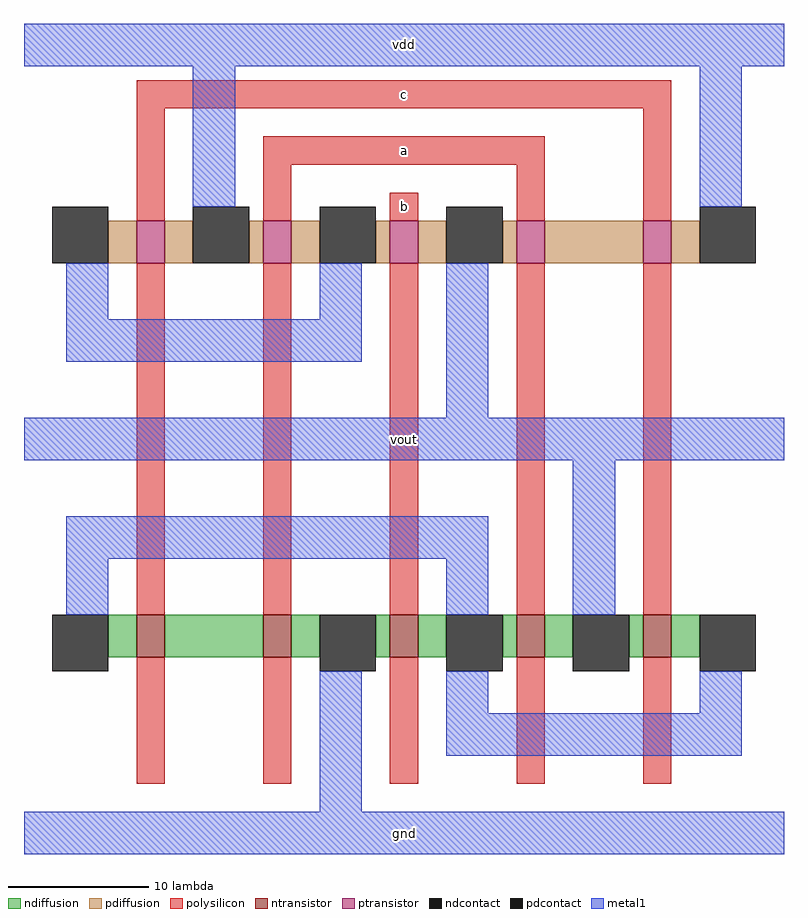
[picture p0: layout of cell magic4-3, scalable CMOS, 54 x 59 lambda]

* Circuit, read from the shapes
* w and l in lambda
.subckt magic4-3 a b c gnd vdd vout
M1 n1 c n2 VSUBS nfet w=3 l=2
M2 gnd a n1 VSUBS nfet w=3 l=2
M3 n2 b gnd VSUBS nfet w=3 l=2
M4 vout a n2 VSUBS nfet w=3 l=2
M5 n2 c vout VSUBS nfet w=3 l=2
M6 vdd c n3 NWELL pfet w=3 l=2
M7 n3 a vdd NWELL pfet w=3 l=2
M8 vout b n3 NWELL pfet w=3 l=2
M9 n4 a vout NWELL pfet w=3 l=2
M10 vdd c n4 NWELL pfet w=3 l=2
.ends

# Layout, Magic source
magic
tech scmos
<< polysilicon >>
rect -15 14 23 16
rect -15 6 -13 14
rect -6 10 14 12
rect -6 6 -4 10
rect 3 6 5 8
rect 12 6 14 10
rect 21 6 23 14
rect -15 -22 -13 3
rect -6 -22 -4 3
rect 3 -22 5 3
rect 12 -22 14 3
rect 21 -22 23 3
rect -15 -34 -13 -25
rect -6 -34 -4 -25
rect 3 -34 5 -25
rect 12 -34 14 -25
rect 21 -34 23 -25
<< ndiffusion >>
rect -17 -25 -15 -22
rect -13 -25 -6 -22
rect -4 -25 -2 -22
rect 2 -25 3 -22
rect 5 -25 7 -22
rect 11 -25 12 -22
rect 14 -25 16 -22
rect 20 -25 21 -22
rect 23 -25 25 -22
<< pdiffusion >>
rect -17 3 -15 6
rect -13 3 -11 6
rect -7 3 -6 6
rect -4 3 -2 6
rect 2 3 3 6
rect 5 3 7 6
rect 11 3 12 6
rect 14 3 21 6
rect 23 3 25 6
<< metal1 >>
rect -23 17 31 20
rect -11 7 -8 17
rect 25 7 28 17
rect -20 -1 -17 3
rect -2 -1 1 3
rect -20 -4 1 -1
rect 7 -8 10 3
rect -23 -11 31 -8
rect -20 -18 10 -15
rect -20 -22 -17 -18
rect 7 -22 10 -18
rect 16 -22 19 -11
rect -2 -36 1 -26
rect 7 -29 10 -26
rect 25 -29 28 -26
rect 7 -32 28 -29
rect -23 -39 31 -36
<< ntransistor >>
rect -15 -25 -13 -22
rect -6 -25 -4 -22
rect 3 -25 5 -22
rect 12 -25 14 -22
rect 21 -25 23 -22
<< ptransistor >>
rect -15 3 -13 6
rect -6 3 -4 6
rect 3 3 5 6
rect 12 3 14 6
rect 21 3 23 6
<< ndcontact >>
rect -21 -26 -17 -22
rect -2 -26 2 -22
rect 7 -26 11 -22
rect 16 -26 20 -22
rect 25 -26 29 -22
<< pdcontact >>
rect -21 3 -17 7
rect -11 3 -7 7
rect -2 3 2 7
rect 7 3 11 7
rect 25 3 29 7
<< labels >>
rlabel metal1 -23 -11 31 -8 7 vout
rlabel metal1 -23 17 31 20 7 vdd
rlabel metal1 -23 -39 31 -36 7 gnd
rlabel polysilicon 3 6 5 8 1 b
rlabel polysilicon -6 10 14 12 1 a
rlabel polysilicon -15 14 23 16 1 c
<< end >>
